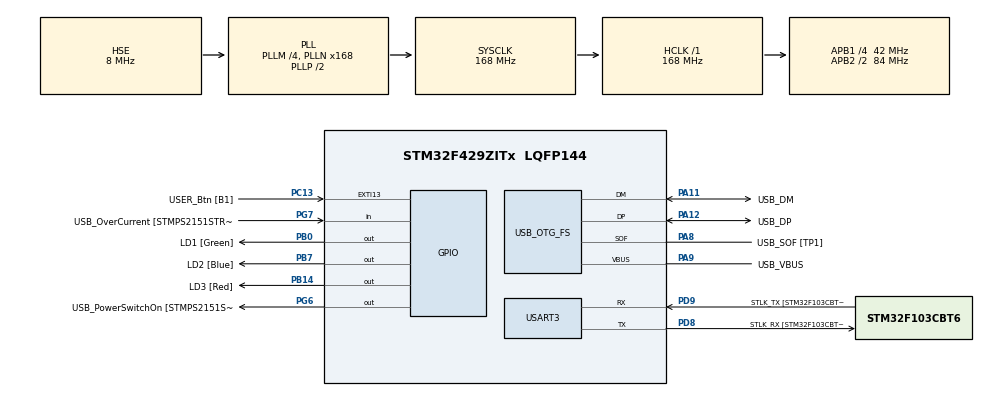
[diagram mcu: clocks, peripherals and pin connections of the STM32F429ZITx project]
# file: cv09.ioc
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Mcu.Family=STM32F4
Mcu.Name=STM32F429ZITx
Mcu.Package=LQFP144
NVIC.OTG_FS_IRQn=true\:0\:0\:false\:false\:true\:false\:true\:true
NVIC.PriorityGroup=NVIC_PRIORITYGROUP_4
PA1.GPIO_Label=RMII_REF_CLK [LAN8742A-CZ-TR_REFCLK0]
PA1.Signal=ETH_REF_CLK
PA10.GPIO_Label=USB_ID
PA10.Signal=USB_OTG_FS_ID
PA11.GPIO_Label=USB_DM
PA11.Mode=Device_Only
PA11.Signal=USB_OTG_FS_DM
PA12.GPIO_Label=USB_DP
PA12.Mode=Device_Only
PA12.Signal=USB_OTG_FS_DP
PA13.GPIO_Label=TMS
PA13.Mode=Serial_Wire
PA13.Signal=SYS_JTMS-SWDIO
PA14.GPIO_Label=TCK
PA14.Mode=Serial_Wire
PA14.Signal=SYS_JTCK-SWCLK
PA2.GPIO_Label=RMII_MDIO [LAN8742A-CZ-TR_MDIO]
PA2.Signal=ETH_MDIO
PA7.GPIO_Label=RMII_CRS_DV [LAN8742A-CZ-TR_CRS_DV]
PA7.Signal=ETH_CRS_DV
PA8.GPIO_Label=USB_SOF [TP1]
PA8.Mode=Activate_SOF_FS
PA8.Signal=USB_OTG_FS_SOF
PA9.GPIO_Label=USB_VBUS
PA9.Mode=Activate_VBUS
PA9.Signal=USB_OTG_FS_VBUS
PB0.GPIO_Label=LD1 [Green]
PB0.Signal=GPIO_Output
PB13.GPIO_Label=RMII_TXD1 [LAN8742A-CZ-TR_TXD1]
PB13.Signal=ETH_TXD1
PB14.GPIO_Label=LD3 [Red]
PB14.Signal=GPIO_Output
PB7.GPIO_Label=LD2 [Blue]
PB7.Signal=GPIO_Output
PC1.GPIO_Label=RMII_MDC [LAN8742A-CZ-TR_MDC]
PC1.Signal=ETH_MDC
PC13.GPIO_Label=USER_Btn [B1]
PC13.Signal=GPXTI13
PC14/OSC32_IN.Mode=LSE-External-Oscillator
PC14/OSC32_IN.Signal=RCC_OSC32_IN
PC15/OSC32_OUT.Mode=LSE-External-Oscillator
PC15/OSC32_OUT.Signal=RCC_OSC32_OUT
PC4.GPIO_Label=RMII_RXD0 [LAN8742A-CZ-TR_RXD0]
PC4.Signal=ETH_RXD0
PC5.GPIO_Label=RMII_RXD1 [LAN8742A-CZ-TR_RXD1]
PC5.Signal=ETH_RXD1
PD8.GPIO_Label=STLK_RX [STM32F103CBT6_PA3]
PD8.Mode=Asynchronous
PD8.Signal=USART3_TX
PD9.GPIO_Label=STLK_TX [STM32F103CBT6_PA2]
PD9.Mode=Asynchronous
PD9.Signal=USART3_RX
PG11.GPIO_Label=RMII_TX_EN [LAN8742A-CZ-TR_TXEN]
PG11.Signal=ETH_TX_EN
PG13.GPIO_Label=RMII_TXD0 [LAN8742A-CZ-TR_TXD0]
PG13.Signal=ETH_TXD0
PG6.GPIO_Label=USB_PowerSwitchOn [STMPS2151STR_EN]
PG6.Signal=GPIO_Output
PG7.GPIO_Label=USB_OverCurrent [STMPS2151STR_FAULT]
PG7.Signal=GPIO_Input
PH0/OSC_IN.GPIO_Label=MCO [STM32F103CBT6_PA8]
PH0/OSC_IN.Mode=HSE-External-Clock-Source
PH0/OSC_IN.Signal=RCC_OSC_IN
PH1/OSC_OUT.Mode=HSE-External-Clock-Source
PH1/OSC_OUT.Signal=RCC_OSC_OUT
ProjectManager.HeapSize=0x200
ProjectManager.StackSize=0x400
ProjectManager.TargetToolchain=STM32CubeIDE
RCC.48MHZClocksFreq_Value=48000000
RCC.AHBFreq_Value=168000000
RCC.APB1CLKDivider=RCC_HCLK_DIV4
RCC.APB1Freq_Value=42000000
RCC.APB1TimFreq_Value=84000000
RCC.APB2CLKDivider=RCC_HCLK_DIV2
RCC.APB2Freq_Value=84000000
RCC.APB2TimCLKDivider=2
RCC.APB2TimFreq_Value=168000000
RCC.CortexFreq_Value=168000000
RCC.HCLKFreq_Value=168000000
RCC.HSE_VALUE=8000000
RCC.HSI_VALUE=16000000
RCC.PLLM=4
RCC.PLLMUL=RCC_PLL_MUL9
RCC.PLLN=168
RCC.PLLQ=7
RCC.PRESCALERUSB=RCC_USBCLKSOURCE_PLL_DIV1_5
RCC.SYSCLKFreq_VALUE=168000000
RCC.SYSCLKSource=RCC_SYSCLKSOURCE_PLLCLK
RCC.SYSCLKSourceVirtual=RCC_SYSCLKSOURCE_PLLCLK
RCC.USBFreq_Value=48000000
RCC.VCOOutputFreq_Value=336000000
USART3.VirtualMode=VM_ASYNC
USB_DEVICE.CLASS_NAME_FS=HID
USB_DEVICE.VirtualMode-HID_FS=Hid
USB_DEVICE.VirtualModeFS=Hid_FS
USB_OTG_FS.VirtualMode=Device_Only
VP_USB_DEVICE_VS_USB_DEVICE_HID_FS.Mode=HID_FS
board=NUCLEO-F429ZI

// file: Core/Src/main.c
/* USER CODE BEGIN Header */
/**
 ******************************************************************************
 * @file           : main.c
 * @brief          : Main program body
 ******************************************************************************
 * @attention
 *
 * Copyright (c) 2024 STMicroelectronics.
 * All rights reserved.
 *
 * This software is licensed under terms that can be found in the LICENSE file
 * in the root directory of this software component.
 * If no LICENSE file comes with this software, it is provided AS-IS.
 *
 ******************************************************************************
 */
/* USER CODE END Header */
#include "main.h"
#include "usb_device.h"

/* USER CODE BEGIN Includes */
#include "usbd_hid.h"
#include <stdio.h>
#include <math.h>

/* USER CODE END Includes */

UART_HandleTypeDef huart3;

void SystemClock_Config(void);
static void MX_GPIO_Init(void);
static void MX_USART3_UART_Init(void);

/* USER CODE BEGIN 0 */
int __io_putchar(int ch)
{
	ITM_SendChar(ch);
	return 0;
}

extern USBD_HandleTypeDef hUsbDeviceFS;

void step(int8_t x, int8_t y, uint8_t click)
{
	uint8_t buff[4];
	buff[0] = click; // press the left button
	buff[1] = (int8_t) (x); // shift X +10
	buff[2] = (int8_t) (y); // shift Y -3
	buff[3] = 0; // no scroll
	USBD_HID_SendReport(&hUsbDeviceFS, buff, sizeof(buff));
	HAL_Delay(USBD_HID_GetPollingInterval(&hUsbDeviceFS));
	HAL_Delay(10);
}

void circ(int8_t r)
{
	int8_t sx;
	int8_t sy;
	for (float phi = 0; phi < (2 * 3.14f); phi = phi + 0.1)
	{
		float x = r * cosf(phi);
		float y = r * sinf(phi);

		printf("%.2f, %.2f\n", x, y);

		int8_t dx = x - sx;
		int8_t dy = y - sy;

		step(dx, dy, 1);

		sx += dx;
		sy += dy;
		//printf("%.2f\n", phi);
	}
}

/* USER CODE END 0 */

int main(void)
{

	/* MCU Configuration--------------------------------------------------------*/

	/* Reset of all peripherals, Initializes the Flash interface and the Systick. */
	HAL_Init();

	/* Configure the system clock */
	SystemClock_Config();

	/* Initialize all configured peripherals */
	MX_GPIO_Init();
	MX_USART3_UART_Init();
	MX_USB_DEVICE_Init();
	/* USER CODE BEGIN 2 */
	HAL_Delay(1000);

	/* USER CODE END 2 */

	/* Infinite loop */
	while (1)
	{

		/* USER CODE BEGIN 3 */

		circ(100);

		step(0, 0, 0);
		step(-60, -20, 1);
		step(0, 30, 0);

		step(-20, -25, 0);
		circ(20);

		step(0, 0, 0);
		step(50, 0, 0);

		circ(20);

		step(0, 0, 0);

		step(-80, -20, 0);

		int8_t sx = 0;
		int8_t sy = 0;
		for (float phi = 0.785; phi < 2; phi = phi + 0.1)
		{
			uint8_t r = 75;
			float x = r * cosf(phi);
			float y = r * sinf(phi);

			printf("%.2f, %.2f\n", x, y);

			int8_t dx = x - sx;
			int8_t dy = y - sy;

			step(dx, dy, 1);

			sx += dx;
			sy += dy;
			//printf("%.2f\n", phi);
		}

		step(0, 0, 0);
		step(100, 0, 0);

		HAL_Delay(1000);

	}
	/* USER CODE END 3 */
}

void SystemClock_Config(void)
{
	RCC_OscInitTypeDef RCC_OscInitStruct =
	{ 0 };
	RCC_ClkInitTypeDef RCC_ClkInitStruct =
	{ 0 };

	/** Configure the main internal regulator output voltage
	 */
	__HAL_RCC_PWR_CLK_ENABLE();
	__HAL_PWR_VOLTAGESCALING_CONFIG(PWR_REGULATOR_VOLTAGE_SCALE1);

	/** Initializes the RCC Oscillators according to the specified parameters
	 * in the RCC_OscInitTypeDef structure.
	 */
	RCC_OscInitStruct.OscillatorType = RCC_OSCILLATORTYPE_HSE;
	RCC_OscInitStruct.HSEState = RCC_HSE_BYPASS;
	RCC_OscInitStruct.PLL.PLLState = RCC_PLL_ON;
	RCC_OscInitStruct.PLL.PLLSource = RCC_PLLSOURCE_HSE;
	RCC_OscInitStruct.PLL.PLLM = 4;
	RCC_OscInitStruct.PLL.PLLN = 168;
	RCC_OscInitStruct.PLL.PLLP = RCC_PLLP_DIV2;
	RCC_OscInitStruct.PLL.PLLQ = 7;
	if (HAL_RCC_OscConfig(&RCC_OscInitStruct) != HAL_OK)
	{
		Error_Handler();
	}

	/** Initializes the CPU, AHB and APB buses clocks
	 */
	RCC_ClkInitStruct.ClockType = RCC_CLOCKTYPE_HCLK | RCC_CLOCKTYPE_SYSCLK | RCC_CLOCKTYPE_PCLK1 | RCC_CLOCKTYPE_PCLK2;
	RCC_ClkInitStruct.SYSCLKSource = RCC_SYSCLKSOURCE_PLLCLK;
	RCC_ClkInitStruct.AHBCLKDivider = RCC_SYSCLK_DIV1;
	RCC_ClkInitStruct.APB1CLKDivider = RCC_HCLK_DIV4;
	RCC_ClkInitStruct.APB2CLKDivider = RCC_HCLK_DIV2;

	if (HAL_RCC_ClockConfig(&RCC_ClkInitStruct, FLASH_LATENCY_5) != HAL_OK)
	{
		Error_Handler();
	}
}

static void MX_USART3_UART_Init(void)
{

	huart3.Instance = USART3;
	huart3.Init.BaudRate = 115200;
	huart3.Init.WordLength = UART_WORDLENGTH_8B;
	huart3.Init.StopBits = UART_STOPBITS_1;
	huart3.Init.Parity = UART_PARITY_NONE;
	huart3.Init.Mode = UART_MODE_TX_RX;
	huart3.Init.HwFlowCtl = UART_HWCONTROL_NONE;
	huart3.Init.OverSampling = UART_OVERSAMPLING_16;
	if (HAL_UART_Init(&huart3) != HAL_OK)
	{
		Error_Handler();
	}

}

static void MX_GPIO_Init(void)
{
	GPIO_InitTypeDef GPIO_InitStruct =
	{ 0 };

	/* GPIO Ports Clock Enable */
	__HAL_RCC_GPIOC_CLK_ENABLE();
	__HAL_RCC_GPIOH_CLK_ENABLE();
	__HAL_RCC_GPIOA_CLK_ENABLE();
	__HAL_RCC_GPIOB_CLK_ENABLE();
	__HAL_RCC_GPIOD_CLK_ENABLE();
	__HAL_RCC_GPIOG_CLK_ENABLE();

	/*Configure GPIO pin Output Level */
	HAL_GPIO_WritePin(GPIOB, LD1_Pin | LD3_Pin | LD2_Pin, GPIO_PIN_RESET);

	/*Configure GPIO pin Output Level */
	HAL_GPIO_WritePin(USB_PowerSwitchOn_GPIO_Port, USB_PowerSwitchOn_Pin, GPIO_PIN_RESET);

	/*Configure GPIO pin : USER_Btn_Pin */
	GPIO_InitStruct.Pin = USER_Btn_Pin;
	GPIO_InitStruct.Mode = GPIO_MODE_IT_RISING;
	GPIO_InitStruct.Pull = GPIO_NOPULL;
	HAL_GPIO_Init(USER_Btn_GPIO_Port, &GPIO_InitStruct);

	/*Configure GPIO pins : RMII_MDC_Pin RMII_RXD0_Pin RMII_RXD1_Pin */
	GPIO_InitStruct.Pin = RMII_MDC_Pin | RMII_RXD0_Pin | RMII_RXD1_Pin;
	GPIO_InitStruct.Mode = GPIO_MODE_AF_PP;
	GPIO_InitStruct.Pull = GPIO_NOPULL;
	GPIO_InitStruct.Speed = GPIO_SPEED_FREQ_VERY_HIGH;
	GPIO_InitStruct.Alternate = GPIO_AF11_ETH;
	HAL_GPIO_Init(GPIOC, &GPIO_InitStruct);

	/*Configure GPIO pins : RMII_REF_CLK_Pin RMII_MDIO_Pin RMII_CRS_DV_Pin */
	GPIO_InitStruct.Pin = RMII_REF_CLK_Pin | RMII_MDIO_Pin | RMII_CRS_DV_Pin;
	GPIO_InitStruct.Mode = GPIO_MODE_AF_PP;
	GPIO_InitStruct.Pull = GPIO_NOPULL;
	GPIO_InitStruct.Speed = GPIO_SPEED_FREQ_VERY_HIGH;
	GPIO_InitStruct.Alternate = GPIO_AF11_ETH;
	HAL_GPIO_Init(GPIOA, &GPIO_InitStruct);

	/*Configure GPIO pins : LD1_Pin LD3_Pin LD2_Pin */
	GPIO_InitStruct.Pin = LD1_Pin | LD3_Pin | LD2_Pin;
	GPIO_InitStruct.Mode = GPIO_MODE_OUTPUT_PP;
	GPIO_InitStruct.Pull = GPIO_NOPULL;
	GPIO_InitStruct.Speed = GPIO_SPEED_FREQ_LOW;
	HAL_GPIO_Init(GPIOB, &GPIO_InitStruct);

	/*Configure GPIO pin : RMII_TXD1_Pin */
	GPIO_InitStruct.Pin = RMII_TXD1_Pin;
	GPIO_InitStruct.Mode = GPIO_MODE_AF_PP;
	GPIO_InitStruct.Pull = GPIO_NOPULL;
	GPIO_InitStruct.Speed = GPIO_SPEED_FREQ_VERY_HIGH;
	GPIO_InitStruct.Alternate = GPIO_AF11_ETH;
	HAL_GPIO_Init(RMII_TXD1_GPIO_Port, &GPIO_InitStruct);

	/*Configure GPIO pin : USB_PowerSwitchOn_Pin */
	GPIO_InitStruct.Pin = USB_PowerSwitchOn_Pin;
	GPIO_InitStruct.Mode = GPIO_MODE_OUTPUT_PP;
	GPIO_InitStruct.Pull = GPIO_NOPULL;
	GPIO_InitStruct.Speed = GPIO_SPEED_FREQ_LOW;
	HAL_GPIO_Init(USB_PowerSwitchOn_GPIO_Port, &GPIO_InitStruct);

	/*Configure GPIO pin : USB_OverCurrent_Pin */
	GPIO_InitStruct.Pin = USB_OverCurrent_Pin;
	GPIO_InitStruct.Mode = GPIO_MODE_INPUT;
	GPIO_InitStruct.Pull = GPIO_NOPULL;
	HAL_GPIO_Init(USB_OverCurrent_GPIO_Port, &GPIO_InitStruct);

	/*Configure GPIO pins : RMII_TX_EN_Pin RMII_TXD0_Pin */
	GPIO_InitStruct.Pin = RMII_TX_EN_Pin | RMII_TXD0_Pin;
	GPIO_InitStruct.Mode = GPIO_MODE_AF_PP;
	GPIO_InitStruct.Pull = GPIO_NOPULL;
	GPIO_InitStruct.Speed = GPIO_SPEED_FREQ_VERY_HIGH;
	GPIO_InitStruct.Alternate = GPIO_AF11_ETH;
	HAL_GPIO_Init(GPIOG, &GPIO_InitStruct);

}

void Error_Handler(void)
{
	__disable_irq();
	while (1)
	{
	}
}
